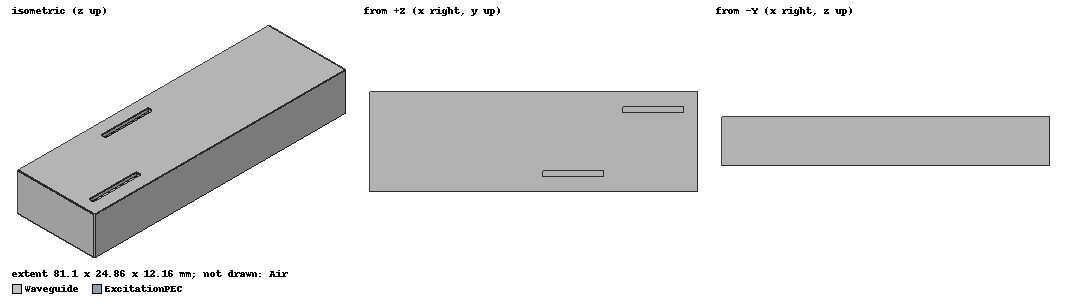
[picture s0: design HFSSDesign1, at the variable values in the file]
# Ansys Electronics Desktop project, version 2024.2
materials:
  vacuum: permittivity=1
  aluminum: permeability=1.000021 conductivity=38000000
  pec: conductivity=1e+30

design HFSSDesign1 (HFSS, HFSS Modal Network, model units mm)
options: Allow_Material_Override
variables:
  a = 22.86mm
  b = 10.16mm
  Lw = 80mm
  t = 1mm
  Ls = (15/9.88*10) mm
  Ws = 1.5mm
  xcs = 70.06mm
  ycs = 8mm
  AddSpace = 7.5mm
  Lg = 39.76mm
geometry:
  Waveguide [aluminum] = box(corner=(0mm, -a/2-t, -b/2-t), size=(Lw+t, a+2*t, b+2*t))
  WaveguideInnerPart = box(corner=(0mm, -a/2, -b/2), size=(Lw, a, b))
  Waveguide.subtract(WaveguideInnerPart)
  Slot = box(corner=(xcs-Ls/2, ycs-Ws/2, b/2), size=(Ls, Ws, t))
  Waveguide.subtract(Slot)
  ExcitationPort = rectangle(corner=(0mm, -a/2-t, -b/2-t), y_size=a+2*t, z_size=b+2*t)
  ExcitationPEC [pec] = box(corner=(-0.1mm, -a/2-t, -b/2-t), size=(0.1mm, a+2*t, b+2*t))
  Air [vacuum] = box(corner=(-AddSpace-0.1, -a/2-t-AddSpace, -b/2-t-AddSpace), size=(0.1+Lw+t+2*AddSpace, a+2*t+2*AddSpace, b+2*t+2*AddSpace))
  Slot2 = box(corner=(xcs-Ls/2-Lg/2, -ycs-Ws/2, b/2), size=(Ls, Ws, t))
  Waveguide.subtract(Slot2)
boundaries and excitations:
  Rad1: Radiation Objects=Air
  1: Wave Port Objects=ExcitationPort WavePortType=Modal NumModes=1 Modes{Mode1{IntLine{(0, 0, -5.08) -> (0, 0, 5.08)} CharImp=Zpi}}
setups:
  Setup1: HfssDriven Frequency=10GHz MaxDeltaS=0.03 MaximumPasses=10 MinimumPasses=1 MinimumConvergedPasses=2 PercentRefinement=30 BasisOrder=1 PortAccuracy=2 DrivenSolverType="Direct Solver"
    sweep Sweep: 9GHz to 11GHz, 201 points; Type=Interpolating SaveFields InterpTolerance=0.5 InterpMaxSolns=250 InterpUsePortImped=false PassivityErrorTolerance=0.0001
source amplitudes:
  1:1: 1W 0deg
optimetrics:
  ParametricSetup1: Parametric Sim._Setups=[Setup1]
    sweep ycs: LIN 6mm 10mm 2mm
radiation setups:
  Infinite Sphere1: Infinite Sphere Theta=-180deg..180deg step 1deg Phi=0deg..90deg step 2deg
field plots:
  Mag_E1: E Field over a plane on Setup1 : LastAdaptive at Freq=10GHz Phase=0deg
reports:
  Gain Plot 1: GainTotal vs Theta on Setup1 : LastAdaptive, Infinite Sphere1 [Phi=all Freq=10GHz]
  S Parameter Plot 1: dB(S(1,1)) vs Freq on Setup1 : Sweep
  S Parameter Plot 2: dB(S(1,1)) vs Freq on Setup1 : Sweep [ycs=all]
